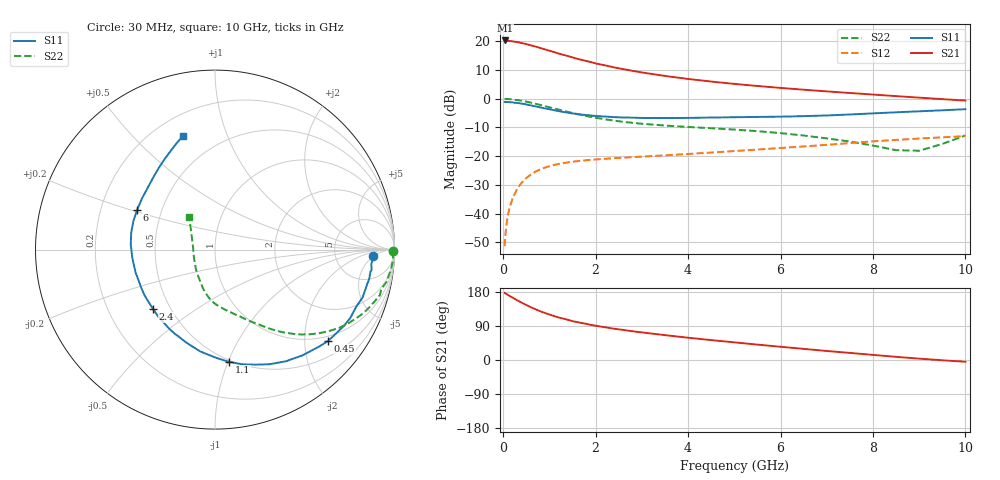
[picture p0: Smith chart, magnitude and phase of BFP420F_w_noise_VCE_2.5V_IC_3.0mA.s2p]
! Infineon Technologies  Discrete & RF Semiconductors
! BFP420F
! VCE =  2.5 V,  IC =  3.0 mA
! Common Emitter S-Parameters:  Sep 2011
# GHz  S  MA  R  50
!  f  S11  S21  S12  S22
! GHz  MAG  ANG  MAG  ANG  MAG  ANG  MAG  ANG
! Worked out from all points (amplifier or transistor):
!   54 points, 30 MHz to 10 GHz, reference 50 ohm
!   highest |S21| = 20.3 dB at 40 MHz (marker M1)
!   |S21| within 3 dB of that: start of sweep to 879 MHz
!   unconditionally stable (mu >= 1): 2.408 GHz to end of sweep
!   at 120 MHz: K = 0.06, MSG = 29.7 dB, |S12| = -39.3 dB
!   at 1.3 GHz: K = 0.52, MSG = 18.9 dB, |S12| = -22.4 dB
!   at 10 GHz: K = 1.52, MAG = 1.9 dB, |S12| = -13.0 dB
!   lowest NFmin = 0.85 dB at 450 MHz
!   S11 on the Smith chart (normalised r, x): 30 MHz: 14, -5; 450 MHz: 0.87, -2.57; 1.1 GHz: 0.49, -1.01; 2.4 GHz: 0.40, -0.34; 6 GHz: 0.36, +0.21; 10 GHz: 0.32, +0.71
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0.03  0.8815 -2.4  10.35 177.2  0.0027 91.0  0.9904 -0.6
0.04  0.8801 -3.0  10.35 176.4  0.0037 88.3  0.9932 -1.0
0.13  0.8725 -11.8  10.15 169.6  0.012 83.4  0.9848 -6.9
0.25  0.8485 -22.2  9.852 161.1  0.0221 77.7  0.9523 -13.2
0.45  0.8099 -38.9  9.158 148.1  0.0381 68.8  0.9065 -22.2
0.6  0.7647 -50.4  8.497 139.1  0.0479 62.6  0.8525 -28.5
0.7  0.7369 -57.6  8.106 133.8  0.0538 59.2  0.8172 -32.3
0.9  0.6789 -70.8  7.241 124.2  0.063 53.0  0.7437 -38.8
1.1  0.6303 -82.8  6.505 115.9  0.0702 48.1  0.6756 -44.4
1.2  0.6077 -88.2  6.12 112.2  0.073 46.1  0.6452 -46.8
1.5  0.5544 -103.1  5.245 102.5  0.0799 41.4  0.5638 -53.0
1.7  0.5276 -111.8  4.744 97.6  0.0832 39.1  0.5186 -56.6
1.9  0.5101 -119.8  4.341 92.4  0.0862 37.4  0.4816 -59.8
2.4  0.4777 -136.3  3.509 82.5  0.092 34.5  0.4153 -67.3
3.5  0.4605 -163.9  2.494 65.6  0.1032 32.9  0.341 -80.1
4.5  0.4701 176.7  1.991 52.5  0.1155 32.8  0.306 -88.9
5.5  0.4815 160.7  1.667 40.6  0.1302 32.6  0.2723 -96.9
6  0.4872 152.8  1.543 34.9  0.1386 32.3  0.2517 -101.2
7  0.5108 136.7  1.342 23.8  0.1573 30.9  0.2038 -112.5
8.5  0.5801 118.5  1.111 8.3  0.192 25.8  0.127 -156.8
9  0.6038 114.0  1.044 3.6  0.2025 23.5  0.1242 171.6
10  0.6571 105.9  0.928 -4.7  0.2227 18.8  0.2294 128.6
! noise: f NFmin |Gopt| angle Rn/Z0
0.45  0.85  0.4  15  0.19
0.9  0.9  0.38  35  0.21
1.9  1.14  0.29  89  0.16
2.4  1.25  0.29  101  0.16
3.5  1.61  0.32  139  0.17
